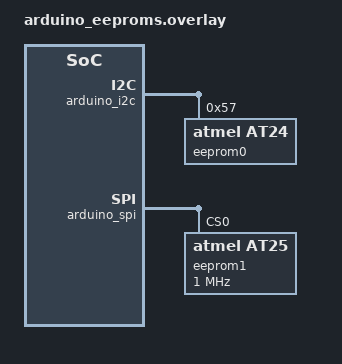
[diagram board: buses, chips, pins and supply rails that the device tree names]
/*
 * Copyright (c) 2021 Henrik Brix Andersen <henrik@brixandersen.dk>
 * SPDX-License-Identifier: Apache-2.0
 */

#include <dt-bindings/gpio/gpio.h>

/ {
        aliases {
                eeprom-0 = &eeprom0;
                eeprom-1 = &eeprom1;
        };
};

&arduino_i2c {
	status = "okay";

	eeprom0: eeprom@57 {
		compatible = "atmel,at24";
		reg = <0x57>;
                size = <32768>;
                pagesize = <64>;
                address-width = <16>;
		timeout = <5>;
                /* wp-gpios = <&arduino_header 14 GPIO_INT_ACTIVE_HIGH>; */
	};
};

&arduino_spi {
	status = "okay";

	eeprom1: eeprom@0 {
		compatible = "atmel,at25";
		reg = <0x0>;
                spi-max-frequency = <1000000>;
                size = <256>;
                pagesize = <16>;
                address-width = <8>;
		timeout = <5>;
                /* wp-gpios = <&arduino_header 15 GPIO_INT_ACTIVE_LOW>; */
	};
};
